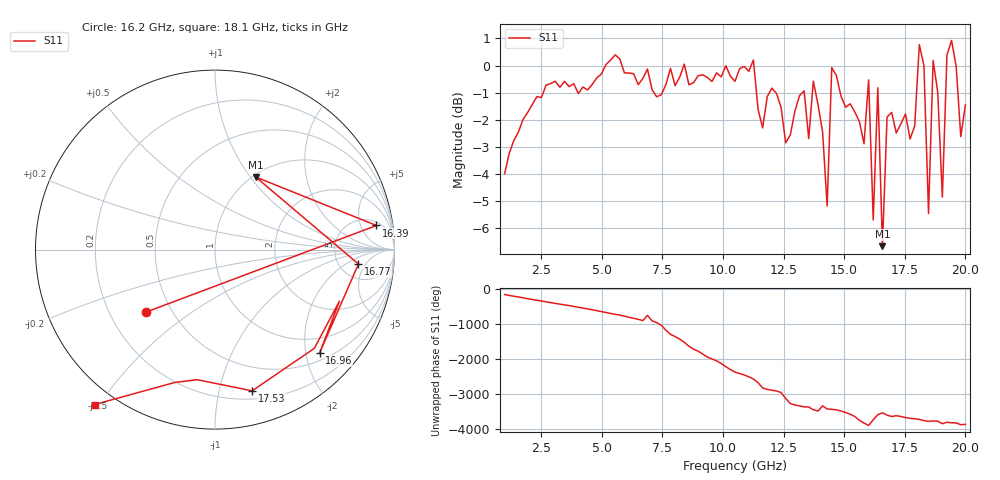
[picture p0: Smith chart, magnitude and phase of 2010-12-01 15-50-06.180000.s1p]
# GHz S RI R 50
!freq	ReS11	ImS11
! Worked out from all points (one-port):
!   101 points, 1 GHz to 20 GHz, reference 50 ohm
!   lowest |S11| = -6.7 dB at 16.58 GHz (marker M1), VSWR 2.73, Z = 51.6 + j53.1 ohm
!   |S11| at or under -10 dB: nowhere
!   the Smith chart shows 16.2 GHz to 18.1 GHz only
!   S11 on the Smith chart (normalised r, x): 16.2 GHz: 0.36, -0.34; 16.39 GHz: 6, +10; 16.77 GHz: 7.59, -3.43; 16.96 GHz: 0.65, -2.28; 17.53 GHz: 0.27, -1.26; 18.1 GHz: -0.06, -0.49
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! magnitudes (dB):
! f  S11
! 1 GHz  -4.0
! 3.47 GHz  -0.6
! 5.75 GHz  0.2
! 8.22 GHz  -0.4
! 10.5 GHz  -0.6
! 12.97 GHz  -1.7
! 13.54 GHz  -2.7
! 13.73 GHz  -0.6
! 14.3 GHz  -5.2
! 14.49 GHz  -0.1
! 15.25 GHz  -1.4
! 15.82 GHz  -2.9
! 16.01 GHz  -0.5
! 16.2 GHz  -5.7
! 16.39 GHz  -0.8
! 16.58 GHz  -6.7
! 16.77 GHz  -1.9
! 16.96 GHz  -1.7
! 17.53 GHz  -1.8
! 17.72 GHz  -2.7
! 18.1 GHz  0.8
! 18.29 GHz  0.0
! 18.48 GHz  -5.5
! 18.67 GHz  0.2
! 19.05 GHz  -4.9
! 19.24 GHz  0.4
! 19.81 GHz  -2.6
! 20 GHz  -1.5
